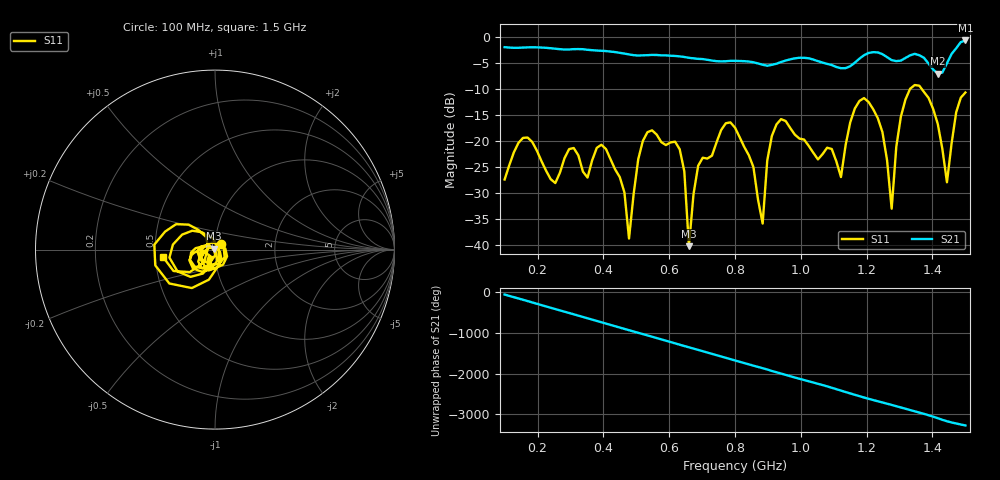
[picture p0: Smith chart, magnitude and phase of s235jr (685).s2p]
! NanoVNA-App
! Date: 2025-09-25 15:09:30
! Start: 100MHz Stop: 1,5GHz Points: 101
! S-Parameter data: F S11 S21 S12 S22
# Hz S RI R 50
!  Frequency  S11_Real  S11_Imag  S21_Real  S21_Imag  S12_Real  S12_Imag  S22_Real  S22_Imag
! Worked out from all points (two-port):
!   101 points, 100 MHz to 1.5 GHz, reference 50 ohm
!   highest |S21| = -0.67 dB at 1.5 GHz (marker M1); lowest = -7.0 dB at 1.416 GHz (marker M2)
!   |S21| within 3 dB of the highest: start of sweep to 620.2 MHz; 1.189 GHz to 1.257 GHz (67.87 MHz wide, 5.55 % of centre)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
!   lowest |S11| = -40.3 dB at 660 MHz (marker M3), VSWR 1.02, Z = 49.3 + j0.597 ohm
!   |S11| at or under -10 dB: start of sweep to 1.332 GHz; 1.367 GHz to end of sweep
!   S12 and S22 are empty: the file has one direction only
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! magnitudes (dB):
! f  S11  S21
! 100 MHz  -27.5  -2.0
! 156 MHz  -19.4  -2.0
! 338 MHz  -26.0  -2.4
! 408 MHz  -21.6  -2.7
! 478 MHz  -38.9  -3.4
! 520 MHz  -20.0  -3.5
! 576 MHz  -20.3  -3.5
! 632 MHz  -21.6  -3.7
! 660 MHz  -40.3  -4.0
! 688 MHz  -24.8  -4.2
! 800 MHz  -17.5  -4.6
! 884 MHz  -36.0  -5.4
! 926 MHz  -16.9  -5.2
! 1.038 GHz  -22.3  -4.4
! 1.122 GHz  -27.0  -6.0
! 1.192 GHz  -11.8  -3.5
! 1.248 GHz  -18.4  -3.3
! 1.276 GHz  -33.1  -4.5
! 1.332 GHz  -10.0  -3.5
! 1.416 GHz  -16.7  -7.0
! 1.444 GHz  -28.0  -5.1
! 1.5 GHz  -10.7  -0.7
